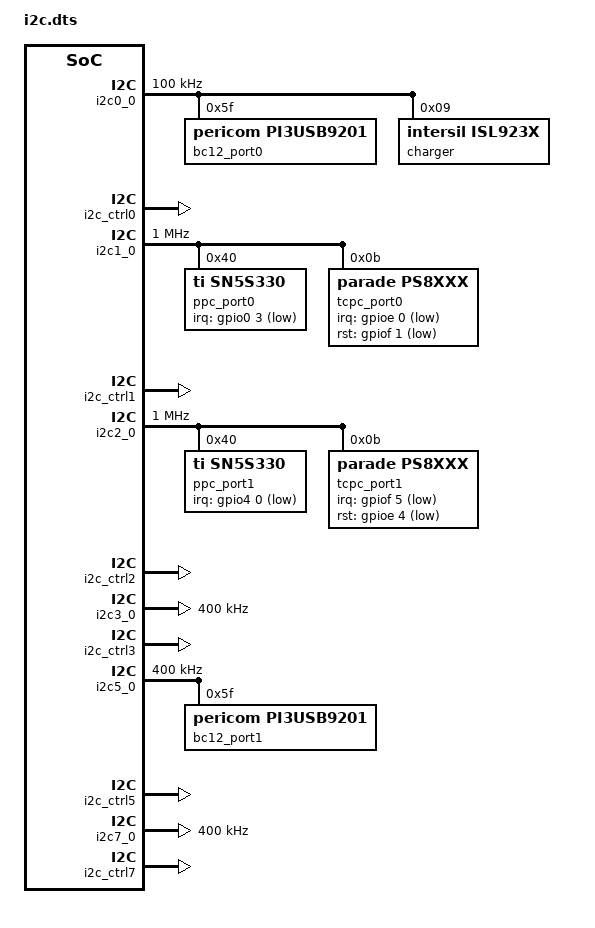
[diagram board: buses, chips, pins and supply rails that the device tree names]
/* Copyright 2022 The ChromiumOS Authors
 * Use of this source code is governed by a BSD-style license that can be
 * found in the LICENSE file.
 */

/ {
	named-i2c-ports {
		compatible = "named-i2c-ports";

		i2c_power: power {
			i2c-port = <&i2c0_0>;
			remote-port = <0>;
			enum-names = "I2C_PORT_POWER",
				"I2C_PORT_BATTERY",
				"I2C_PORT_VIRTUAL_BATTERY",
				"I2C_PORT_CHARGER";
		};
		i2c_tcpc0: tcpc0 {
			i2c-port = <&i2c1_0>;
			enum-names = "I2C_PORT_TCPC0";
		};
		i2c_tcpc1: tcpc1 {
			i2c-port = <&i2c2_0>;
			enum-names = "I2C_PORT_TCPC1";
		};
		i2c_eeprom: eeprom {
			i2c-port = <&i2c5_0>;
			enum-names = "I2C_PORT_EEPROM";
		};
		i2c_sensor: sensor {
			i2c-port = <&i2c7_0>;
			enum-names = "I2C_PORT_SENSOR",
				"I2C_PORT_ACCEL";
		};
	};

};

&i2c0_0 {
	status = "okay";
	clock-frequency = <I2C_BITRATE_STANDARD>;
	pinctrl-0 = <&i2c0_0_sda_scl_gpb4_b5>;
	pinctrl-names = "default";

	bc12_port0: pi3usb9201@5f {
		compatible = "pericom,pi3usb9201";
		status = "okay";
		reg = <0x5f>;
		irq = <&int_usb_c0_bc12>;
	};

	charger: isl923x@9 {
		compatible = "intersil,isl923x";
		status = "okay";
		reg = <0x9>;
	};
};

&i2c_ctrl0 {
	status = "okay";
};

&i2c1_0 {
	status = "okay";
	clock-frequency = <I2C_BITRATE_FAST_PLUS>;
	pinctrl-0 = <&i2c1_0_sda_scl_gp87_90>;
	pinctrl-names = "default";

	ppc_port0: sn5s330@40 {
		compatible = "ti,sn5s330";
		status = "okay";
		reg = <0x40>;
		/* a duplicate of the <&gpio_usb_c0_swctl_int_odl> node in
		 * "named-gpios". This is the Zephyr preferred style,
		 * the "named-gpios" node will be dealt with at a later date.
		 */
		irq-gpios = <&gpio0 3 GPIO_ACTIVE_LOW>;
	};

	tcpc_port0: ps8xxx@b {
		compatible = "parade,ps8xxx";
		status = "okay";
		reg = <0xb>;
		/* a duplicate of the <&gpio_usb_c0_pd_int_odl> node in
		 * "named-gpios". This is the Zephyr preferred style,
		 * the "named-gpios" node will be dealt with at a later date.
		 */
		irq-gpios = <&gpioe 0 GPIO_ACTIVE_LOW>;
		/* a duplicate of the <&gpio_usb_c0_pd_rst_l> node in
		 * "named-gpios". This is the Zephyr preferred style,
		 * the "named-gpios" node will be dealt with at a later date.
		 */
		rst-gpios = <&gpiof 1 (GPIO_OPEN_DRAIN | GPIO_ACTIVE_LOW)>;
	};
};

&i2c_ctrl1 {
	status = "okay";
};

&i2c2_0 {
	status = "okay";
	clock-frequency = <I2C_BITRATE_FAST_PLUS>;
	pinctrl-0 = <&i2c2_0_sda_scl_gp91_92>;
	pinctrl-names = "default";

	ppc_port1: sn5s330@40{
		compatible = "ti,sn5s330";
		status = "okay";
		reg = <0x40>;
		/* a duplicate of the <&gpio_usb_c1_swctl_int_odl> node in
		 * "named-gpios". This is the Zephyr preferred style,
		 * the "named-gpios" node will be dealt with at a later date.
		 */
		irq-gpios = <&gpio4 0 GPIO_ACTIVE_LOW>;
	};

	tcpc_port1: ps8xxx@b {
		compatible = "parade,ps8xxx";
		status = "okay";
		reg = <0xb>;
		/* a duplicate of the <&gpio_usb_c1_pd_int_odl> node in
		 * "named-gpios". This is the Zephyr preferred style,
		 * the "named-gpios" node will be dealt with at a later date.
		 */
		irq-gpios = <&gpiof 5 GPIO_ACTIVE_LOW>;
		/* a duplicate of the <&gpio_usb_c1_pd_rst_l> node in
		 * "named-gpios". This is the Zephyr preferred style,
		 * the "named-gpios" node will be dealt with at a later date.
		 */
		rst-gpios = <&gpioe 4 (GPIO_OPEN_DRAIN | GPIO_ACTIVE_LOW)>;
	};
};

&i2c_ctrl2 {
	status = "okay";
};

&i2c3_0 {
	/* Not used as no WLC connected */
	clock-frequency = <I2C_BITRATE_FAST>;
};

&i2c_ctrl3 {
	status = "okay";
};

&i2c5_0 {
	status = "okay";
	clock-frequency = <I2C_BITRATE_FAST>;
	pinctrl-0 = <&i2c5_0_sda_scl_gp33_36>;
	pinctrl-names = "default";

	bc12_port1: pi3usb9201@5f {
		compatible = "pericom,pi3usb9201";
		status = "okay";
		reg = <0x5f>;
		irq = <&int_usb_c1_bc12>;
	};
};

&i2c_ctrl5 {
	status = "okay";
};

&i2c7_0 {
	status = "okay";
	clock-frequency = <I2C_BITRATE_FAST>;
	pinctrl-0 = <&i2c7_0_sda_scl_gpb2_b3>;
	pinctrl-names = "default";
};

&i2c_ctrl7 {
	status = "okay";
};
